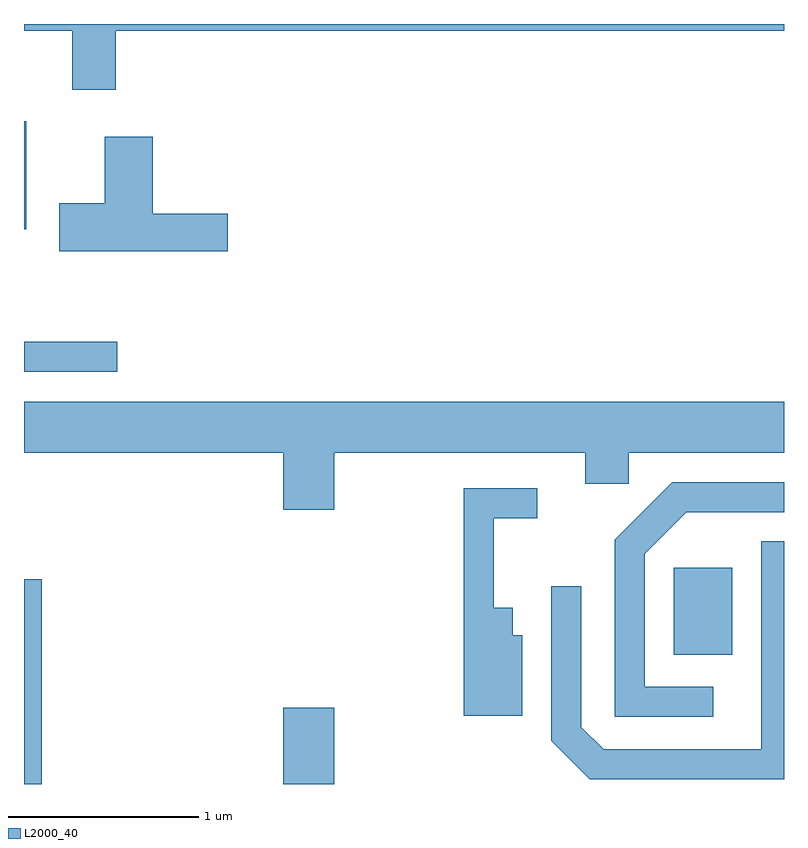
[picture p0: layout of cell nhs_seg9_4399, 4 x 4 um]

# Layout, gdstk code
import gdstk
lib = gdstk.Library(unit=1e-6, precision=1e-09)
def R(c, l, rs):  # rectangles x0, y0, x1, y1
    for r in rs: c.add(gdstk.rectangle(r[:2], r[2:], *l))
def P(c, l, *ps):  # polygons
    for p in ps: c.add(gdstk.Polygon(p, *l))
L2000_40 = (2000, 40)

nhs_seg9_4399 = lib.new_cell('nhs_seg9_4399')
R(nhs_seg9_4399, L2000_40, [(313.611,2074.432,313.704,2075.509), (314.976,2074.432,315.244,2074.834), (317.031,2075.111,317.339,2075.569), (313.611,2076.601,314.103,2076.759), (313.611,2077.351,313.624,2077.919)])
P(nhs_seg9_4399, L2000_40, [(314.094,2078.396),(317.611,2078.396),(317.611,2078.432),(313.611,2078.432),(313.611,2078.396),(313.866,2078.396),(313.866,2078.086),(314.094,2078.086)],
  [(314.684,2077.434),(314.289,2077.434),(314.289,2077.839),(314.036,2077.839),(314.036,2077.489),(313.796,2077.489),(313.796,2077.236),(314.684,2077.236)],
  [(315.244,2076.176),(316.566,2076.176),(316.566,2076.011),(316.794,2076.011),(316.794,2076.176),(317.611,2076.176),(317.611,2076.444),(313.611,2076.444),(313.611,2076.176),(314.976,2076.176),(314.976,2075.876),(315.244,2075.876)],
  [(317.238,2074.944),(316.879,2074.944),(316.879,2075.644),(317.097,2075.861),(317.611,2075.861),(317.611,2076.019),(317.024,2076.019),(316.721,2075.717),(316.721,2074.786),(317.238,2074.786)],
  [(316.234,2075.214),(316.184,2075.214),(316.184,2075.359),(316.084,2075.359),(316.084,2075.831),(316.313,2075.831),(316.313,2075.989),(315.926,2075.989),(315.926,2074.791),(316.234,2074.791)],
  [(317.611,2075.709),(317.491,2075.709),(317.491,2074.614),(316.662,2074.614),(316.544,2074.731),(316.544,2075.472),(316.386,2075.472),(316.386,2074.659),(316.589,2074.456),(317.611,2074.456)])

lib.write_gds('nhs_seg9_4399.gds')
